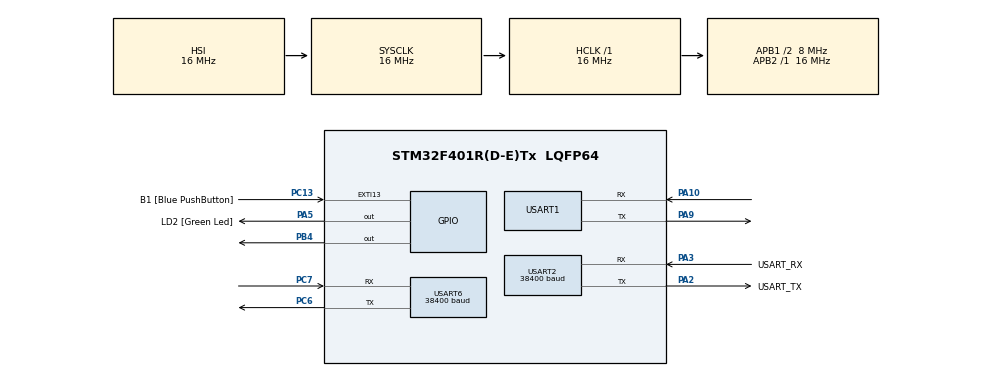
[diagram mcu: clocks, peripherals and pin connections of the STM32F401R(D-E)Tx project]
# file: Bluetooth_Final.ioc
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Mcu.Family=STM32F4
Mcu.Name=STM32F401R(D-E)Tx
Mcu.Package=LQFP64
NVIC.PriorityGroup=NVIC_PRIORITYGROUP_4
NVIC.USART1_IRQn=true\:0\:0\:false\:false\:true\:true\:true\:true
PA10.Mode=Asynchronous
PA10.Signal=USART1_RX
PA13.GPIO_Label=TMS
PA13.Mode=Trace_Asynchronous_SW
PA13.Signal=SYS_JTMS-SWDIO
PA14.GPIO_Label=TCK
PA14.Mode=Trace_Asynchronous_SW
PA14.Signal=SYS_JTCK-SWCLK
PA2.GPIO_Label=USART_TX
PA2.GPIO_Mode=GPIO_MODE_AF_PP
PA2.GPIO_PuPd=GPIO_NOPULL
PA2.GPIO_Speed=GPIO_SPEED_FREQ_LOW
PA2.Mode=Asynchronous
PA2.Signal=USART2_TX
PA3.GPIO_Label=USART_RX
PA3.GPIO_Mode=GPIO_MODE_AF_PP
PA3.GPIO_PuPd=GPIO_NOPULL
PA3.GPIO_Speed=GPIO_SPEED_FREQ_LOW
PA3.Mode=Asynchronous
PA3.Signal=USART2_RX
PA5.GPIO_Label=LD2 [Green Led]
PA5.GPIO_Mode=GPIO_MODE_OUTPUT_PP
PA5.GPIO_PuPd=GPIO_NOPULL
PA5.GPIO_Speed=GPIO_SPEED_FREQ_LOW
PA5.Signal=GPIO_Output
PA9.Mode=Asynchronous
PA9.Signal=USART1_TX
PB3.GPIO_Label=SWO
PB3.Mode=Trace_Asynchronous_SW
PB3.Signal=SYS_JTDO-SWO
PB4.Signal=GPIO_Output
PC13-ANTI_TAMP.GPIO_Label=B1 [Blue PushButton]
PC13-ANTI_TAMP.GPIO_ModeDefaultEXTI=GPIO_MODE_IT_FALLING
PC13-ANTI_TAMP.GPIO_PuPd=GPIO_NOPULL
PC13-ANTI_TAMP.Signal=GPXTI13
PC14-OSC32_IN.Mode=LSE-External-Oscillator
PC14-OSC32_IN.Signal=RCC_OSC32_IN
PC15-OSC32_OUT.Mode=LSE-External-Oscillator
PC15-OSC32_OUT.Signal=RCC_OSC32_OUT
PC6.Mode=Asynchronous
PC6.Signal=USART6_TX
PC7.Mode=Asynchronous
PC7.Signal=USART6_RX
PH0\ -\ OSC_IN.Mode=HSE-External-Clock-Source
PH0\ -\ OSC_IN.Signal=RCC_OSC_IN
PH1\ -\ OSC_OUT.Mode=HSE-External-Clock-Source
PH1\ -\ OSC_OUT.Signal=RCC_OSC_OUT
ProjectManager.HeapSize=0x200
ProjectManager.StackSize=0x400
ProjectManager.TargetToolchain=STM32CubeIDE
RCC.48MHZClocksFreq_Value=96000000
RCC.AHBFreq_Value=16000000
RCC.APB1CLKDivider=RCC_HCLK_DIV2
RCC.APB1Freq_Value=8000000
RCC.APB1TimFreq_Value=16000000
RCC.APB2Freq_Value=16000000
RCC.APB2TimFreq_Value=16000000
RCC.CortexFreq_Value=16000000
RCC.HCLKFreq_Value=16000000
RCC.HSE_VALUE=8000000
RCC.HSI_VALUE=16000000
RCC.PLLM=4
RCC.PLLN=336
RCC.PLLP=RCC_PLLP_DIV4
RCC.PLLQ=7
RCC.PLLSourceVirtual=RCC_PLLSOURCE_HSE
RCC.SYSCLKFreq_VALUE=16000000
RCC.VCOOutputFreq_Value=672000000
USART1.VirtualMode=VM_ASYNC
USART2.BaudRate=38400
USART2.VirtualMode=VM_ASYNC
USART6.BaudRate=38400
USART6.VirtualMode=VM_ASYNC
board=NUCLEO-F401RE

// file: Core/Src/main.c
/* USER CODE BEGIN Header */
	/**
	  ******************************************************************************
	  * @file           : main.c
	  * @brief          : Main program body
	  ******************************************************************************
	  * @attention
	  *
	  * Copyright (c) 2025 STMicroelectronics.
	  * All rights reserved.
	  *
	  * This software is licensed under terms that can be found in the LICENSE file
	  * in the root directory of this software component.
	  * If no LICENSE file comes with this software, it is provided AS-IS.
	  *
	  ******************************************************************************
	  */
	/* USER CODE END Header */
	/* Includes ------------------------------------------------------------------*/

	/* Private includes ----------------------------------------------------------*/

	/* Private typedef -----------------------------------------------------------*/

	/* Private define ------------------------------------------------------------*/

	/* Private macro -------------------------------------------------------------*/

	/* Private variables ---------------------------------------------------------*/
	/* GLOBAL DEFINITIONS - DO NOT REMOVE THIS SECTION */
	// Define all protocol constants at the top level to ensure visibility
	#define STK_GET_SYNC               0x30  // Command: Get Sync
	#define STK_GET_SYNC_EXT           0x20  // Command param: Get Sync (extended)
	#define STK_INSYNC                 0x14  // Response: In Sync
	#define STK_OK                     0x10  // Response: OK

	// Arduino parameters
	#define ARDUINO_RESET_PIN          GPIO_PIN_4
	#define ARDUINO_RESET_PORT         GPIOB
	#define ARDUINO_BOOTLOADER_TIMEOUT 1500  // UNO bootloader active window (~1.5 seconds)
	#define ARDUINO_SYNC_RETRIES       10    // Increased number of sync attempts
	#define ARDUINO_RESET_TIMEOUT      800   // Timeout for Arduino to respond after reset
	#define MAX_RESET_ATTEMPTS         5     // Increased number of reset attempts

	// Reset timing parameters (in ms)
	#define RESET_PULSE_DURATION       2000  // Much longer reset pulse for visible LED blink
	#define POST_RESET_DELAY           250   // Increased wait time after reset
	#define INTER_RESET_DELAY          1000  // Longer delay between reset attempts
	#define SYNC_RETRY_DELAY           100   // Delay between sync command retries

	// Response timeouts
	#define SYNC_RESPONSE_TIMEOUT      500   // Increased timeout for sync response
	#define SECOND_BYTE_TIMEOUT        300   // Dedicated timeout for second byte

	// Buffer and UART settings
	#define UART_TIMEOUT               1000
	#define RX_BUFFER_SIZE             256
	#define DEBUG_BUFFER_SIZE          512

	// Feature flags
	#define DTR_CONTROL_ENABLED        1
	#define VERBOSE_DEBUG_ENABLED      1
	#define DIRECT_SYNC_COMMAND        1
	/* END OF GLOBAL DEFINITIONS */

	/* STK500 Protocol Commands for Hex File Upload */
	#define STK_LOAD_ADDRESS         0x55  // Command: Load Address
	#define STK_PROG_PAGE            0x64  // Command: Program Page
	#define STK_READ_PAGE            0x74  // Command: Read Page
	#define STK_READ_SIGN            0x75  // Command: Read Signature
	#define STK_LEAVE_PROGMODE       0x51  // Command: Leave Programming Mode
	#define STK_ENTER_PROGMODE       0x50  // Command: Enter Programming Mode
	#define STK_UNIVERSAL            0x56  // Command: Universal
	#define STK_CHIP_ERASE           0x52  // Command: Chip erase (ATmega328P)

	/* ATmega328P Memory Specifications */
	#define FLASH_PAGE_SIZE          128   // Flash page size in bytes
	#define EEPROM_PAGE_SIZE         4     // EEPROM page size in bytes
	#define MAX_FLASH_ADDRESS        0x8000 // 32KB flash memory
	#define BOOT_SECTION_START       0x7000 // Do not write to bootloader section

	/* Include the hex file data */

	/* APPLICATION START */

	/* Includes ------------------------------------------------------------------*/
	#include "main.h"
	#include "usart.h"
	#include "gpio.h"
	#include <stdio.h>
	#include <string.h>
	#include <stdbool.h>

	/* Private typedef -----------------------------------------------------------*/
	typedef enum {
	  LOG_STM_TO_ARDUINO,  // Messages from STM to Arduino
	  LOG_ARDUINO_TO_STM   // Messages from Arduino to STM
	} LogType;

	typedef enum {
	  MEMORY_TYPE_FLASH,
	  MEMORY_TYPE_EEPROM,
	  MEMORY_TYPE_FUSE
	} MemoryType;

	typedef struct {
	  uint32_t address;      // Current memory address
	  uint8_t *data;         // Pointer to data buffer
	  uint16_t size;         // Size of data in buffer
	  MemoryType type;       // Type of memory being programmed
	} ProgrammingState;

	/* Private define ------------------------------------------------------------*/
	// UARTs
	#define UART_ARDUINO    huart1  // Connected to Arduino hardware
	#define UART_DEBUG      huart6  // Connected to PL2303 for debug via Putty

	/* Private variables ---------------------------------------------------------*/
	uint8_t rxBuffer[RX_BUFFER_SIZE];
	uint8_t txBuffer[RX_BUFFER_SIZE];
	char debugBuffer[DEBUG_BUFFER_SIZE];
	uint32_t tickStart;
	uint8_t dtrState = 0;
	uint8_t prevDtrState = 0;

	/* Interrupt mode UART variables */
	volatile uint8_t uartRxCircBuffer[RX_BUFFER_SIZE];
	volatile uint16_t rxHead = 0;
	volatile uint16_t rxTail = 0;
	volatile bool uartRxReady = false;
	/* Private function prototypes -----------------------------------------------*/
	void SystemClock_Config(void);
	void ResetArduino(void);
	bool ResetAndSyncArduino(uint8_t attempts);
	void LogMessage(LogType type, uint8_t* buffer, uint16_t size);
	bool IsSync(uint8_t* buffer, uint16_t size);
	bool SendDirectSync(void);
	bool SendSyncWithRetries(uint8_t retries);

	/* Function prototypes for hex upload */
	bool EnterProgrammingMode(void);
	bool LeaveProgrammingMode(void);
	bool SendCommandAndWaitForSync(uint8_t cmd, uint8_t *params, uint8_t paramSize, uint8_t *response, uint8_t responseSize);
	bool LoadAddress(uint16_t address);
	bool ProgramPage(uint8_t *data, uint16_t size, MemoryType type);
	bool EraseChip(void);
	bool VerifySignature(void);
	bool UploadHexFile(void);
	void PrintUploadProgress(uint32_t currentAddress, uint32_t totalSize);
	bool GetSignOn(void);
	uint16_t PrepareHexFilePages(uint8_t preparedPages[][FLASH_PAGE_SIZE],
								uint16_t pageSizes[],
								uint16_t pageAddresses[],
								uint16_t maxPages);

	/* Private user code ---------------------------------------------------------*/

	/**
	  * @brief Reset Arduino UNO into bootloader mode with precise timing for ATmega328P
	  * @retval None
	  */
	void HAL_UART_RxCpltCallback(UART_HandleTypeDef *huart)
	{
	  if (huart->Instance == UART_ARDUINO.Instance) {
	    // Save the received byte in the circular buffer
	    uartRxCircBuffer[rxHead] = rxBuffer[0]; // Get the received byte from the temp buffer
	    rxHead = (rxHead + 1) % RX_BUFFER_SIZE; // Increment head with wrap-around

	    // Set flag indicating data is available
	    uartRxReady = true;

	    // Re-enable the UART receive interrupt for the next byte
	    HAL_UART_Receive_IT(&UART_ARDUINO, rxBuffer, 1);
	  }
	}

	/**
	  * @brief Start UART receive in interrupt mode
	  * @retval None
	  */
	void StartUartInterruptMode(void)
	{
	  // Reset buffer pointers
	  rxHead = 0;
	  rxTail = 0;
	  uartRxReady = false;

	  // Enable UART receive interrupt
	  HAL_UART_Receive_IT(&UART_ARDUINO, rxBuffer, 1);

	  sprintf(debugBuffer, "[%lu] SYSTEM: UART interrupt mode started\r\n", HAL_GetTick());
	  HAL_UART_Transmit(&UART_DEBUG, (uint8_t*)debugBuffer, strlen(debugBuffer), UART_TIMEOUT);
	}

	void ResetArduino(void)
	{
	  // Log the reset action start
	  sprintf(debugBuffer, "[%lu] SYSTEM: Arduino UNO reset sequence initiated\r\n", HAL_GetTick());
	  HAL_UART_Transmit(&UART_DEBUG, (uint8_t*)debugBuffer, strlen(debugBuffer), UART_TIMEOUT);

	  // UNO/ATmega328P specific bootloader entry sequence:

	  // 1. Set RESET low (Arduino enters reset)
	  HAL_GPIO_WritePin(ARDUINO_RESET_PORT, ARDUINO_RESET_PIN, GPIO_PIN_RESET);

	  // 2. Hold reset for much longer to ensure the LED visibly blinks (2 seconds)
	  HAL_Delay(RESET_PULSE_DURATION);

	  // 3. Release RESET - bootloader starts immediately after release
	  HAL_GPIO_WritePin(ARDUINO_RESET_PORT, ARDUINO_RESET_PIN, GPIO_PIN_SET);

	  // 4. Wait longer for the bootloader to initialize properly
	  HAL_Delay(POST_RESET_DELAY);

	  // Log the reset action completion
	  sprintf(debugBuffer, "[%lu] SYSTEM: Arduino UNO reset sequence completed - bootloader window active\r\n", HAL_GetTick());
	  HAL_UART_Transmit(&UART_DEBUG, (uint8_t*)debugBuffer, strlen(debugBuffer), UART_TIMEOUT);
	}

	/**
	  * @brief  Send STK_GET_SIGN_ON command to verify the bootloader is present
	  * @retval true if successful, bootloader responds with "AVR STK"
	  */bool GetSignOn(void)
	  {
		uint8_t response[7]; // Space for "AVR STK"
		bool success = false;

		sprintf(debugBuffer, "[%lu] UPLOAD: Sending GET_SIGN_ON command\r\n", HAL_GetTick());
		HAL_UART_Transmit(&UART_DEBUG, (uint8_t*)debugBuffer, strlen(debugBuffer), UART_TIMEOUT);

		// Send the GET_SIGN_ON command (0x31) with no parameters
		success = SendCommandAndWaitForSync(0x31, NULL, 0, response, 7); // 7 bytes for "AVR STK"

		if (success) {
		  // Validate the received signature
		  char signatureStr[8]; // +1 for null terminator
		  memcpy(signatureStr, response, 7);
		  signatureStr[7] = '\0';

		  sprintf(debugBuffer, "[%lu] UPLOAD: Received signature: %s\r\n", HAL_GetTick(), signatureStr);
		  HAL_UART_Transmit(&UART_DEBUG, (uint8_t*)debugBuffer, strlen(debugBuffer), UART_TIMEOUT);

		  // Check if the signature is "AVR STK"
		  if (strcmp(signatureStr, "AVR STK") == 0) {
			sprintf(debugBuffer, "[%lu] UPLOAD: Valid signature confirmed\r\n", HAL_GetTick());
			HAL_UART_Transmit(&UART_DEBUG, (uint8_t*)debugBuffer, strlen(debugBuffer), UART_TIMEOUT);
		  } else {
			sprintf(debugBuffer, "[%lu] UPLOAD: Invalid signature received\r\n", HAL_GetTick());
			HAL_UART_Transmit(&UART_DEBUG, (uint8_t*)debugBuffer, strlen(debugBuffer), UART_TIMEOUT);
			success = false;
		  }
		} else {
		  sprintf(debugBuffer, "[%lu] UPLOAD: Failed to get signature\r\n", HAL_GetTick());
		  HAL_UART_Transmit(&UART_DEBUG, (uint8_t*)debugBuffer, strlen(debugBuffer), UART_TIMEOUT);
		}

		return success;
	  }
	/**
	  * @brief Log message with timestamp and direction
	  * @param type: Type of message (direction)
	  * @param buffer: Message content
	  * @param size: Message size
	  * @retval None
	  */
	void LogMessage(LogType type, uint8_t* buffer, uint16_t size)
	{
	  uint32_t timestamp = HAL_GetTick();
	  char prefix[32];

	  // Determine message prefix based on type
	  switch(type) {
		case LOG_STM_TO_ARDUINO:
		  strcpy(prefix, "STM->ARDUINO");
		  break;
		case LOG_ARDUINO_TO_STM:
		  strcpy(prefix, "ARDUINO->STM");
		  break;
		default:
		  strcpy(prefix, "UNKNOWN");
	  }

	  // Format the log header with timestamp and direction
	  sprintf(debugBuffer, "[%lu] %s: ", timestamp, prefix);
	  uint16_t headerLen = strlen(debugBuffer);

	  // Send log header
	  HAL_UART_Transmit(&UART_DEBUG, (uint8_t*)debugBuffer, headerLen, UART_TIMEOUT);

	  // For binary data, output hex values
	  for (uint16_t i = 0; i < size; i++) {
		sprintf(debugBuffer, "0x%02X ", buffer[i]);
		HAL_UART_Transmit(&UART_DEBUG, (uint8_t*)debugBuffer, strlen(debugBuffer), UART_TIMEOUT);
	  }

	  // Add newline
	  HAL_UART_Transmit(&UART_DEBUG, (uint8_t*)"\r\n", 2, UART_TIMEOUT);
	}

	/**
	  * @brief Check if buffer contains an avrdude sync request
	  * @param buffer: Buffer to check
	  * @param size: Buffer size
	  * @retval true if sync request is detected
	  */
	bool IsSync(uint8_t* buffer, uint16_t size)
	{
	  // Check for the standard STK500 sync pattern (0x30, 0x20)
	  if (size >= 2 && buffer[0] == STK_GET_SYNC && buffer[1] == STK_GET_SYNC_EXT)
		return true;

	  // Check for alternate sync patterns
	  if (size >= 2 && buffer[0] == STK_GET_SYNC && buffer[1] == 0x00)
		return true;

	  // For UNO, sometimes just the first byte is enough to check
	  if (size >= 1 && buffer[0] == STK_GET_SYNC)
		return true;

	  return false;
	}

	/**
	  * @brief Send a sync command directly to Arduino bootloader
	  * @retval true if sync response received
	  */
	bool SendDirectSync(void)
	{
	  uint8_t syncCmd[2] = {STK_GET_SYNC, STK_GET_SYNC_EXT};
	  uint8_t response[2] = {0, 0};
	  bool success = false;

	  // Log action
	  sprintf(debugBuffer, "[%lu] SYSTEM: Sending direct sync command to bootloader\r\n", HAL_GetTick());
	  HAL_UART_Transmit(&UART_DEBUG, (uint8_t*)debugBuffer, strlen(debugBuffer), UART_TIMEOUT);

	  // Flush any existing data in the UART buffers
	  HAL_UART_AbortReceive(&UART_ARDUINO);

	  // Wait for UART to stabilize
	  HAL_Delay(10);

	  // Send sync command
	  HAL_UART_Transmit(&UART_ARDUINO, syncCmd, 2, UART_TIMEOUT);

	  // Try to receive first byte with longer timeout
	  if (HAL_UART_Receive(&UART_ARDUINO, &response[0], 1, SYNC_RESPONSE_TIMEOUT) == HAL_OK) {
		// We got the first byte, check if it's STK_INSYNC
		if (response[0] == STK_INSYNC) {
		  sprintf(debugBuffer, "[%lu] SYSTEM: Received STK_INSYNC (0x%02X)\r\n", HAL_GetTick(), response[0]);
		  HAL_UART_Transmit(&UART_DEBUG, (uint8_t*)debugBuffer, strlen(debugBuffer), UART_TIMEOUT);

		  // Try to get the second byte (STK_OK) with dedicated timeout
		  if (HAL_UART_Receive(&UART_ARDUINO, &response[1], 1, SECOND_BYTE_TIMEOUT) == HAL_OK) {
			sprintf(debugBuffer, "[%lu] SYSTEM: Received second byte: 0x%02X\r\n", HAL_GetTick(), response[1]);
			HAL_UART_Transmit(&UART_DEBUG, (uint8_t*)debugBuffer, strlen(debugBuffer), UART_TIMEOUT);

			if (response[1] == STK_OK) {
			  sprintf(debugBuffer, "[%lu] SYSTEM: Second byte is STK_OK - Bootloader sync confirmed!\r\n", HAL_GetTick());
			  HAL_UART_Transmit(&UART_DEBUG, (uint8_t*)debugBuffer, strlen(debugBuffer), UART_TIMEOUT);
			  success = true;
			} else {
			  sprintf(debugBuffer, "[%lu] SYSTEM: Second byte is not STK_OK\r\n", HAL_GetTick());
			  HAL_UART_Transmit(&UART_DEBUG, (uint8_t*)debugBuffer, strlen(debugBuffer), UART_TIMEOUT);
			}
		  } else {
			sprintf(debugBuffer, "[%lu] SYSTEM: No second byte received after STK_INSYNC\r\n", HAL_GetTick());
			HAL_UART_Transmit(&UART_DEBUG, (uint8_t*)debugBuffer, strlen(debugBuffer), UART_TIMEOUT);
		  }
		} else {
		  sprintf(debugBuffer, "[%lu] SYSTEM: Received 0x%02X instead of STK_INSYNC\r\n", HAL_GetTick(), response[0]);
		  HAL_UART_Transmit(&UART_DEBUG, (uint8_t*)debugBuffer, strlen(debugBuffer), UART_TIMEOUT);
		}
	  } else {
		sprintf(debugBuffer, "[%lu] SYSTEM: No response from bootloader\r\n", HAL_GetTick());
		HAL_UART_Transmit(&UART_DEBUG, (uint8_t*)debugBuffer, strlen(debugBuffer), UART_TIMEOUT);
	  }

	  return success;
	}

	/* USER CODE BEGIN PV */

	/**
	  * @brief Send sync commands with multiple retries
	  * @param retries: Number of sync command retries
	  * @retval true if sync was achieved
	  */
	bool SendSyncWithRetries(uint8_t retries)
	{
	  bool syncSuccess = false;

	  for (uint8_t i = 0; i < retries; i++) {
		sprintf(debugBuffer, "[%lu] SYSTEM: Sync attempt %d of %d\r\n", HAL_GetTick(), i+1, retries);
		HAL_UART_Transmit(&UART_DEBUG, (uint8_t*)debugBuffer, strlen(debugBuffer), UART_TIMEOUT);

		if (SendDirectSync()) {
		  syncSuccess = true;
		  break;
		}

		// Wait before trying again
		if (i < retries - 1) {
		  HAL_Delay(SYNC_RETRY_DELAY);
		}
	  }

	  return syncSuccess;
	}

	/**
	  * @brief Perform multiple reset attempts to ensure bootloader entry
	  * @param attempts: Number of reset attempts
	  * @retval true if sync was achieved
	  */
	bool ResetAndSyncArduino(uint8_t attempts)
	{
	  bool syncAchieved = false;

	  for (uint8_t i = 0; i < attempts; i++) {
		// Log attempt number if multiple attempts
		if (attempts > 1) {
		  sprintf(debugBuffer, "[%lu] SYSTEM: Reset attempt %d of %d\r\n", HAL_GetTick(), i+1, attempts);
		  HAL_UART_Transmit(&UART_DEBUG, (uint8_t*)debugBuffer, strlen(debugBuffer), UART_TIMEOUT);
		}

		// Reset Arduino
		ResetArduino();

		// Try multiple sync commands after each reset
		if (SendSyncWithRetries(ARDUINO_SYNC_RETRIES)) {
		  sprintf(debugBuffer, "[%lu] SYSTEM: Bootloader sync achieved on reset attempt %d!\r\n", HAL_GetTick(), i+1);
		  HAL_UART_Transmit(&UART_DEBUG, (uint8_t*)debugBuffer, strlen(debugBuffer), UART_TIMEOUT);
		  syncAchieved = true;
		  break;
		}

		// If this wasn't the last attempt, wait before trying again
		if (i < attempts - 1) {
		  sprintf(debugBuffer, "[%lu] SYSTEM: Sync failed, waiting before next reset attempt...\r\n", HAL_GetTick());
		  HAL_UART_Transmit(&UART_DEBUG, (uint8_t*)debugBuffer, strlen(debugBuffer), UART_TIMEOUT);
		  HAL_Delay(INTER_RESET_DELAY);
		}
	  }

	  if (!syncAchieved && attempts > 1) {
		sprintf(debugBuffer, "[%lu] SYSTEM: Failed to sync after %d reset attempts\r\n", HAL_GetTick(), attempts);
		HAL_UART_Transmit(&UART_DEBUG, (uint8_t*)debugBuffer, strlen(debugBuffer), UART_TIMEOUT);
	  }

	  return syncAchieved;
	}
	/**
	  * @brief  Send STK500 command and wait for the INSYNC/OK response
	  * @param  cmd: STK500 command byte
	  * @param  params: Parameter buffer
	  * @param  paramSize: Parameter buffer size
	  * @param  response: Buffer to store any additional response data
	  * @param  responseSize: Expected response data size (excluding INSYNC/OK bytes)
	  * @retval true if command succeeded
	  */
	bool SendCommandAndWaitForSync(uint8_t cmd, uint8_t *params, uint8_t paramSize, uint8_t *response, uint8_t responseSize)
	  {
		uint8_t cmdBuffer[RX_BUFFER_SIZE];
	//    uint8_t respBuffer[2 + RX_BUFFER_SIZE]; // INSYNC + OK + any response data
		bool success = false;

		// Prepare command buffer
		cmdBuffer[0] = cmd;

		// Copy parameters if any
		if (params != NULL && paramSize > 0) {
		  memcpy(&cmdBuffer[1], params, paramSize);
		}

		// Add Sync_CRC_EOP byte at the end
		cmdBuffer[1 + paramSize] = 0x20;  // Sync_CRC_EOP

		// Total command size is: 1 byte command + paramSize + 1 byte Sync_CRC_EOP
		uint8_t totalSize = 1 + paramSize + 1;

		// Log command with simple format to minimize processing time
		sprintf(debugBuffer, "[%lu] UPLOAD: Command 0x%02X, %d params\r\n", HAL_GetTick(), cmd, paramSize);
		HAL_UART_Transmit(&UART_DEBUG, (uint8_t*)debugBuffer, strlen(debugBuffer), UART_TIMEOUT);

		// Flush any existing data in the UART buffers
		HAL_UART_AbortReceive(&UART_ARDUINO);

		// Wait for UART to stabilize - keep this delay
		HAL_Delay(10);

		// Send command + parameters + Sync_CRC_EOP
		HAL_UART_Transmit(&UART_ARDUINO, cmdBuffer, totalSize, UART_TIMEOUT);

		// Calculate total expected response size: INSYNC + responseSize + STK_OK
		uint8_t totalResponseSize = 1 + responseSize + 1;

		// Create a single buffer for the entire response
		uint8_t fullResponse[2 + RX_BUFFER_SIZE] = {0}; // Size should be enough for all responses

		// Extended timeout for receiving complete response
		uint32_t extendedTimeout = SYNC_RESPONSE_TIMEOUT + (responseSize * 100);

		// Receive the entire response with a single call
		HAL_StatusTypeDef receiveStatus = HAL_UART_Receive(&UART_ARDUINO, fullResponse, totalResponseSize, extendedTimeout);

		// Log the received bytes without processing between receives
		if (receiveStatus == HAL_OK) {
		  sprintf(debugBuffer, "[%lu] UPLOAD: Received %d bytes in response:\r\n", HAL_GetTick(), totalResponseSize);
		  HAL_UART_Transmit(&UART_DEBUG, (uint8_t*)debugBuffer, strlen(debugBuffer), UART_TIMEOUT);

		  for (int i = 0; i < totalResponseSize; i++) {
			sprintf(debugBuffer, "  Byte %d: 0x%02X\r\n", i, fullResponse[i]);
			HAL_UART_Transmit(&UART_DEBUG, (uint8_t*)debugBuffer, strlen(debugBuffer), UART_TIMEOUT);
		  }

		  // Check if response pattern is correct
		  if (fullResponse[0] == STK_INSYNC && fullResponse[totalResponseSize-1] == STK_OK) {
			// Copy response data if needed
			if (response != NULL && responseSize > 0) {
			  memcpy(response, &fullResponse[1], responseSize);
			}

			sprintf(debugBuffer, "[%lu] UPLOAD: Command 0x%02X completed successfully!\r\n", HAL_GetTick(), cmd);
			HAL_UART_Transmit(&UART_DEBUG, (uint8_t*)debugBuffer, strlen(debugBuffer), UART_TIMEOUT);
			success = true;
		  } else {
			sprintf(debugBuffer, "[%lu] UPLOAD: Response pattern incorrect\r\n", HAL_GetTick());
			HAL_UART_Transmit(&UART_DEBUG, (uint8_t*)debugBuffer, strlen(debugBuffer), UART_TIMEOUT);
		  }
		} else {
		  sprintf(debugBuffer, "[%lu] UPLOAD: Failed to receive complete response (status: %d)\r\n",
				  HAL_GetTick(), receiveStatus);
		  HAL_UART_Transmit(&UART_DEBUG, (uint8_t*)debugBuffer, strlen(debugBuffer), UART_TIMEOUT);

		  // Try to read whatever bytes we can get
		  uint8_t availableBytes = 0;
		  while (HAL_UART_Receive(&UART_ARDUINO, &fullResponse[availableBytes], 1, 10) == HAL_OK && availableBytes < sizeof(fullResponse)) {
			availableBytes++;
		  }

		  if (availableBytes > 0) {
			sprintf(debugBuffer, "[%lu] UPLOAD: Retrieved %d partial bytes:\r\n", HAL_GetTick(), availableBytes);
			HAL_UART_Transmit(&UART_DEBUG, (uint8_t*)debugBuffer, strlen(debugBuffer), UART_TIMEOUT);

			for (int i = 0; i < availableBytes; i++) {
			  sprintf(debugBuffer, "  Byte %d: 0x%02X\r\n", i, fullResponse[i]);
			  HAL_UART_Transmit(&UART_DEBUG, (uint8_t*)debugBuffer, strlen(debugBuffer), UART_TIMEOUT);
			}
		  }
		}

		return success;
	  }

	/**
	  * @brief  Enter programming mode
	  * @retval true if successful
	  */
	/**
	  * @brief  Enter programming mode
	  * @retval true if successful
	  */
	bool EnterProgrammingMode(void)
	{
	  sprintf(debugBuffer, "[%lu] UPLOAD: Entering programming mode\r\n", HAL_GetTick());
	  HAL_UART_Transmit(&UART_DEBUG, (uint8_t*)debugBuffer, strlen(debugBuffer), UART_TIMEOUT);

	  // Use SendCommandAndWaitForSync with no parameters and no expected response data
	  if (!SendCommandAndWaitForSync(STK_ENTER_PROGMODE, NULL, 0, NULL, 0)) {
		sprintf(debugBuffer, "[%lu] UPLOAD: Failed to enter programming mode\r\n", HAL_GetTick());
		HAL_UART_Transmit(&UART_DEBUG, (uint8_t*)debugBuffer, strlen(debugBuffer), UART_TIMEOUT);
		return false;
	  }

	  sprintf(debugBuffer, "[%lu] UPLOAD: Successfully entered programming mode\r\n", HAL_GetTick());
	  HAL_UART_Transmit(&UART_DEBUG, (uint8_t*)debugBuffer, strlen(debugBuffer), UART_TIMEOUT);
	  return true;
	}

	/**
	  * @brief  Leave programming mode
	  * @retval true if successful
	  */
	bool LeaveProgrammingMode(void)
	{
	  sprintf(debugBuffer, "[%lu] UPLOAD: Leaving programming mode\r\n", HAL_GetTick());
	  HAL_UART_Transmit(&UART_DEBUG, (uint8_t*)debugBuffer, strlen(debugBuffer), UART_TIMEOUT);

	  return SendCommandAndWaitForSync(STK_LEAVE_PROGMODE, NULL, 0, NULL, 0);
	}

	/**
	  * @brief  Load address for subsequent operations
	  * @param  address: Word address (address/2 for flash)
	  * @retval true if successful
	  */
	bool LoadAddress(uint16_t address)
	{
	  uint8_t params[2];

	  // Convert byte address to word address for flash memory
	  uint16_t wordAddress = address >> 1;

	  // STK500 protocol expects low byte first
	  params[0] = wordAddress & 0xFF;        // Low byte
	  params[1] = (wordAddress >> 8) & 0xFF; // High byte

	  sprintf(debugBuffer, "[%lu] UPLOAD: Loading address 0x%04X (word: 0x%04X)\r\n",
			  HAL_GetTick(), address, wordAddress);
	  HAL_UART_Transmit(&UART_DEBUG, (uint8_t*)debugBuffer, strlen(debugBuffer), UART_TIMEOUT);

	  return SendCommandAndWaitForSync(STK_LOAD_ADDRESS, params, 2, NULL, 0);
	}

	/**
	  * @brief  Program a page of data
	  * @param  data: Data buffer to program
	  * @param  size: Size of data to program
	  * @param  type: Type of memory (FLASH or EEPROM)
	  * @retval true if successful
	  */
	bool ProgramPage(uint8_t *data, uint16_t size, MemoryType type)
	{
	  uint8_t params[size + 3]; // size_low, size_high, memtype, data[size]

	  // Check size limits based on memory type
	  uint16_t maxSize = (type == MEMORY_TYPE_FLASH) ? FLASH_PAGE_SIZE : EEPROM_PAGE_SIZE;
	  if (size > maxSize) {
		sprintf(debugBuffer, "[%lu] UPLOAD: Page size %d exceeds max %d for memory type %d\r\n",
				HAL_GetTick(), size, maxSize, type);
		HAL_UART_Transmit(&UART_DEBUG, (uint8_t*)debugBuffer, strlen(debugBuffer), UART_TIMEOUT);
		return false;
	  }

	  // Prepare parameters
	  params[0] = size & 0xFF;         // Size low byte
	  params[1] = (size >> 8) & 0xFF;  // Size high byte
	  params[2] = (type == MEMORY_TYPE_FLASH) ? 'F' : 'E'; // 'F' for flash, 'E' for EEPROM

	  // Copy data
	  memcpy(&params[3], data, size);

	  sprintf(debugBuffer, "[%lu] UPLOAD: Programming %d bytes to %c memory\r\n",
			  HAL_GetTick(), size, params[2]);
	  HAL_UART_Transmit(&UART_DEBUG, (uint8_t*)debugBuffer, strlen(debugBuffer), UART_TIMEOUT);

	  return SendCommandAndWaitForSync(STK_PROG_PAGE, params, size + 3, NULL, 0);
	}

	bool ProgramPageSpecial(uint8_t *data, uint16_t size, char memoryType)
	{
	  uint8_t cmdBuffer[4 + FLASH_PAGE_SIZE + 1]; // Command + size high/low + memory type + data + CRC_EOP
	  uint8_t response[2] = {0}; // For INSYNC and OK responses
	  bool success = false;

	  // Prepare command buffer
	  cmdBuffer[0] = STK_PROG_PAGE;     // Command
	  cmdBuffer[1] = (size >> 8) & 0xFF; // Size high byte
	  cmdBuffer[2] = size & 0xFF;        // Size low byte
	  cmdBuffer[3] = memoryType;         // 'F' for flash, 'E' for EEPROM

	  // Copy data
	  memcpy(&cmdBuffer[4], data, size);

	  // Add Sync_CRC_EOP at the end
	  cmdBuffer[4 + size] = 0x20; // Sync_CRC_EOP

	  // Total length of command
	  uint16_t totalSize = 4 + size + 1;

	  sprintf(debugBuffer, "[%lu] UPLOAD: Programming %d bytes to %c memory (special method)\r\n",
			  HAL_GetTick(), size, memoryType);
	  HAL_UART_Transmit(&UART_DEBUG, (uint8_t*)debugBuffer, strlen(debugBuffer), UART_TIMEOUT);

	  // Flush any existing data in the UART buffers
	  HAL_UART_AbortReceive(&UART_ARDUINO);

	  // Wait for UART to stabilize
	  HAL_Delay(20);

	  // 1. Send command byte
	  HAL_UART_Transmit(&UART_ARDUINO, &cmdBuffer[0], 1, UART_TIMEOUT);
	  HAL_Delay(5);

	  // 2. Send size bytes and memory type
	  HAL_UART_Transmit(&UART_ARDUINO, &cmdBuffer[1], 3, UART_TIMEOUT);
	  HAL_Delay(5);

	  // 3. Send data in smaller chunks with delays
	  for (uint16_t offset = 0; offset < size; offset += 16) {
		uint16_t chunkSize = ((offset + 16) > size) ? (size - offset) : 16;
		HAL_UART_Transmit(&UART_ARDUINO, &data[offset], chunkSize, UART_TIMEOUT);
		HAL_Delay(1); // Brief delay between chunks
	  }

	  // 4. Send final Sync_CRC_EOP
	  HAL_UART_Transmit(&UART_ARDUINO, &cmdBuffer[4 + size], 1, UART_TIMEOUT);

	  // 5. Wait for INSYNC response with extended timeout
	  uint32_t programmingTimeout = 1000; // 1 second timeout for flash programming

	  if (HAL_UART_Receive(&UART_ARDUINO, &response[0], 1, programmingTimeout) == HAL_OK) {
		if (response[0] == STK_INSYNC) {
		  sprintf(debugBuffer, "[%lu] UPLOAD: Received STK_INSYNC after programming\r\n", HAL_GetTick());
		  HAL_UART_Transmit(&UART_DEBUG, (uint8_t*)debugBuffer, strlen(debugBuffer), UART_TIMEOUT);

		  // 6. Wait for OK response
		  if (HAL_UART_Receive(&UART_ARDUINO, &response[1], 1, 500) == HAL_OK) {
			if (response[1] == STK_OK) {
			  sprintf(debugBuffer, "[%lu] UPLOAD: Programming successful\r\n", HAL_GetTick());
			  HAL_UART_Transmit(&UART_DEBUG, (uint8_t*)debugBuffer, strlen(debugBuffer), UART_TIMEOUT);
			  success = true;
			} else {
			  sprintf(debugBuffer, "[%lu] UPLOAD: Received non-OK response: 0x%02X\r\n",
					 HAL_GetTick(), response[1]);
			  HAL_UART_Transmit(&UART_DEBUG, (uint8_t*)debugBuffer, strlen(debugBuffer), UART_TIMEOUT);
			}
		  } else {
			sprintf(debugBuffer, "[%lu] UPLOAD: No OK response received\r\n", HAL_GetTick());
			HAL_UART_Transmit(&UART_DEBUG, (uint8_t*)debugBuffer, strlen(debugBuffer), UART_TIMEOUT);
		  }
		} else {
		  sprintf(debugBuffer, "[%lu] UPLOAD: Received 0x%02X instead of STK_INSYNC\r\n",
				 HAL_GetTick(), response[0]);
		  HAL_UART_Transmit(&UART_DEBUG, (uint8_t*)debugBuffer, strlen(debugBuffer), UART_TIMEOUT);
		}
	  } else {
		sprintf(debugBuffer, "[%lu] UPLOAD: No response after programming\r\n", HAL_GetTick());
		HAL_UART_Transmit(&UART_DEBUG, (uint8_t*)debugBuffer, strlen(debugBuffer), UART_TIMEOUT);
	  }

	  return success;
	}
	/**
	  * @brief  Erase chip
	  * @retval true if successful
	  */
	bool EraseChip(void)
	{
	  sprintf(debugBuffer, "[%lu] UPLOAD: Erasing chip\r\n", HAL_GetTick());
	  HAL_UART_Transmit(&UART_DEBUG, (uint8_t*)debugBuffer, strlen(debugBuffer), UART_TIMEOUT);

	  return SendCommandAndWaitForSync(STK_CHIP_ERASE, NULL, 0, NULL, 0);
	}

	/**
	  * @brief  Verify device signature
	  * @retval true if device is ATmega328P
	  */
	bool VerifySignature(void)
	{
	  uint8_t response[3];

	  sprintf(debugBuffer, "[%lu] UPLOAD: Reading device signature\r\n", HAL_GetTick());
	  HAL_UART_Transmit(&UART_DEBUG, (uint8_t*)debugBuffer, strlen(debugBuffer), UART_TIMEOUT);

	  if (!SendCommandAndWaitForSync(STK_READ_SIGN, NULL, 0, response, 3)) {
		return false;
	  }

	  // ATmega328P signature is 0x1E 0x95 0x0F
	  if (response[0] == 0x1E && response[1] == 0x95 && response[2] == 0x0F) {
		sprintf(debugBuffer, "[%lu] UPLOAD: Signature verified: ATmega328P\r\n", HAL_GetTick());
		HAL_UART_Transmit(&UART_DEBUG, (uint8_t*)debugBuffer, strlen(debugBuffer), UART_TIMEOUT);
		return true;
	  } else {
		sprintf(debugBuffer, "[%lu] UPLOAD: Unexpected signature: 0x%02X 0x%02X 0x%02X\r\n",
				HAL_GetTick(), response[0], response[1], response[2]);
		HAL_UART_Transmit(&UART_DEBUG, (uint8_t*)debugBuffer, strlen(debugBuffer), UART_TIMEOUT);
		return false;
	  }
	}

	/**
	  * @brief  Print upload progress to debug UART
	  * @param  currentAddress: Current address being programmed
	  * @param  totalSize: Total size to program
	  * @retval None
	  */
	void PrintUploadProgress(uint32_t currentAddress, uint32_t totalSize)
	{
	  uint8_t percent = (currentAddress * 100) / totalSize;
	  static uint8_t lastPercent = 0xFF;

	  // Only print when percentage changes significantly to avoid flooding debug port
	  if (percent != lastPercent && (percent % 10 == 0 || percent == 5 || percent == 95)) {
		sprintf(debugBuffer, "[%lu] UPLOAD: Progress %d%% - Address 0x%04lX of 0x%04lX\r\n",
				HAL_GetTick(), percent, currentAddress, totalSize);
		HAL_UART_Transmit(&UART_DEBUG, (uint8_t*)debugBuffer, strlen(debugBuffer), UART_TIMEOUT);
		lastPercent = percent;
	  }
	}

	/**
	  * @brief  Upload the hex file to Arduino
	  * @retval true if upload successful
	  */
	bool UploadHexFile(void)
	{
	  bool success = false;

	  // Define arrays for pre-processed pages (adjust MAX_PAGES as needed)
	  #define MAX_PAGES 64
	  uint8_t preparedPages[MAX_PAGES][FLASH_PAGE_SIZE];
	  uint16_t pageSizes[MAX_PAGES];
	  uint16_t pageAddresses[MAX_PAGES];

	  // Pre-process hex file first
	  uint16_t totalPages = PrepareHexFilePages(preparedPages, pageSizes, pageAddresses, MAX_PAGES);

	  if (totalPages == 0) {
		sprintf(debugBuffer, "[%lu] UPLOAD: No valid pages to upload\r\n", HAL_GetTick());
		HAL_UART_Transmit(&UART_DEBUG, (uint8_t*)debugBuffer, strlen(debugBuffer), UART_TIMEOUT);
		return false;
	  }

	  // Now perform the actual upload
	  sprintf(debugBuffer, "[%lu] UPLOAD: Starting upload of %d pages\r\n", HAL_GetTick(), totalPages);
	  HAL_UART_Transmit(&UART_DEBUG, (uint8_t*)debugBuffer, strlen(debugBuffer), UART_TIMEOUT);

	  // Reset Arduino and establish sync
	  if (!ResetAndSyncArduino(MAX_RESET_ATTEMPTS)) {
		sprintf(debugBuffer, "[%lu] UPLOAD: Failed to sync with Arduino\r\n", HAL_GetTick());
		HAL_UART_Transmit(&UART_DEBUG, (uint8_t*)debugBuffer, strlen(debugBuffer), UART_TIMEOUT);
		return false;
	  }

	  // Verify device signature
	  if (!VerifySignature()) {
		return false;
	  }

	  // Enter programming mode
	  if (!EnterProgrammingMode()) {
		sprintf(debugBuffer, "[%lu] UPLOAD: Failed to enter programming mode\r\n", HAL_GetTick());
		HAL_UART_Transmit(&UART_DEBUG, (uint8_t*)debugBuffer, strlen(debugBuffer), UART_TIMEOUT);
		return false;
	  }

	  // Erase the chip
	  if (!EraseChip()) {
		sprintf(debugBuffer, "[%lu] UPLOAD: Failed to erase chip\r\n", HAL_GetTick());
		HAL_UART_Transmit(&UART_DEBUG, (uint8_t*)debugBuffer, strlen(debugBuffer), UART_TIMEOUT);
		LeaveProgrammingMode(); // Try to exit gracefully
		return false;
	  }

	  // Upload all prepared pages
	  uint16_t i;
	  for (i = 0; i < totalPages; i++) {
		// Load address for this page
		if (!LoadAddress(pageAddresses[i])) {
		  sprintf(debugBuffer, "[%lu] UPLOAD: Failed to load address 0x%04X\r\n",
				  HAL_GetTick(), pageAddresses[i]);
		  HAL_UART_Transmit(&UART_DEBUG, (uint8_t*)debugBuffer, strlen(debugBuffer), UART_TIMEOUT);
		  break;
		}

		// Program the page using the special method for better timing
		if (!ProgramPageSpecial(preparedPages[i], pageSizes[i], 'F')) {
		  sprintf(debugBuffer, "[%lu] UPLOAD: Failed to program page at 0x%04X\r\n",
				  HAL_GetTick(), pageAddresses[i]);
		  HAL_UART_Transmit(&UART_DEBUG, (uint8_t*)debugBuffer, strlen(debugBuffer), UART_TIMEOUT);
		  break;
		}

		// Print progress
		uint8_t percent = ((i + 1) * 100) / totalPages;
		sprintf(debugBuffer, "[%lu] UPLOAD: Progress %d%% - Programmed page %d/%d at 0x%04X\r\n",
				HAL_GetTick(), percent, i+1, totalPages, pageAddresses[i]);
		HAL_UART_Transmit(&UART_DEBUG, (uint8_t*)debugBuffer, strlen(debugBuffer), UART_TIMEOUT);
	  }

	  // Check if upload was complete
	  if (i == totalPages) {
		sprintf(debugBuffer, "[%lu] UPLOAD: Hex file upload complete\r\n", HAL_GetTick());
		HAL_UART_Transmit(&UART_DEBUG, (uint8_t*)debugBuffer, strlen(debugBuffer), UART_TIMEOUT);
		success = true;
	  } else {
		sprintf(debugBuffer, "[%lu] UPLOAD: Upload failed at page %d/%d\r\n",
				HAL_GetTick(), i+1, totalPages);
		HAL_UART_Transmit(&UART_DEBUG, (uint8_t*)debugBuffer, strlen(debugBuffer), UART_TIMEOUT);
	  }

	  // Leave programming mode
	  if (!LeaveProgrammingMode()) {
		sprintf(debugBuffer, "[%lu] UPLOAD: Failed to leave programming mode\r\n", HAL_GetTick());
		HAL_UART_Transmit(&UART_DEBUG, (uint8_t*)debugBuffer, strlen(debugBuffer), UART_TIMEOUT);
		success = false;
	  }

	  // Final reset to run the newly uploaded program
	  if (success) {
		sprintf(debugBuffer, "[%lu] UPLOAD: Resetting Arduino to run new program\r\n", HAL_GetTick());
		HAL_UART_Transmit(&UART_DEBUG, (uint8_t*)debugBuffer, strlen(debugBuffer), UART_TIMEOUT);
		ResetArduino();
	  }

	  return success;
	}

	/**
	  * @brief Pre-processes the hex file into pages for faster upload
	  * @param preparedPages: Array to store prepared page data
	  * @param pageSizes: Array to store size of each page
	  * @param pageAddresses: Array to store starting address of each page
	  * @param maxPages: Maximum number of pages to prepare
	  * @retval Number of pages prepared
	  */
	/**
	  * @brief Pre-processes the hex file into pages for faster upload, ensuring correct byte ordering
	  * @param preparedPages: Array to store prepared page data
	  * @param pageSizes: Array to store size of each page
	  * @param pageAddresses: Array to store starting address of each page
	  * @param maxPages: Maximum number of pages to prepare
	  * @retval Number of pages prepared
	  */
	/**
	  * @brief Pre-processes the hex file into pages for faster upload
	  * @param preparedPages: Array to store prepared page data
	  * @param pageSizes: Array to store size of each page
	  * @param pageAddresses: Array to store starting address of each page
	  * @param maxPages: Maximum number of pages to prepare
	  * @retval Number of pages prepared
	  */
	//uint16_t PrepareHexFilePages(uint8_t preparedPages[][FLASH_PAGE_SIZE],
	//                            uint16_t pageSizes[],
	//                            uint16_t pageAddresses[],
	//                            uint16_t maxPages)
	//{
	//  uint16_t totalPages = 0;
	//  uint16_t currentAddress = 0;
	//  uint16_t bytesRemaining = sizeof(program_data);
	//
	//  sprintf(debugBuffer, "[%lu] UPLOAD: Pre-processing binary program data (size: %u bytes)...\r\n",
	//          HAL_GetTick(), bytesRemaining);
	//  HAL_UART_Transmit(&UART_DEBUG, (uint8_t*)debugBuffer, strlen(debugBuffer), UART_TIMEOUT);
	//
	//  // Process all data in chunks of FLASH_PAGE_SIZE
	//  while (bytesRemaining > 0 && totalPages < maxPages) {
	//    // Skip bootloader area
	//    if (currentAddress >= BOOT_SECTION_START) {
	//      sprintf(debugBuffer, "[%lu] UPLOAD: Skipping bootloader area at 0x%04X\r\n",
	//              HAL_GetTick(), currentAddress);
	//      HAL_UART_Transmit(&UART_DEBUG, (uint8_t*)debugBuffer, strlen(debugBuffer), UART_TIMEOUT);
	//      break; // Stop processing as we've reached the bootloader area
	//    }
	//
	//    // Calculate bytes to copy for this page
	//    uint16_t bytesToCopy = (bytesRemaining > FLASH_PAGE_SIZE) ? FLASH_PAGE_SIZE : bytesRemaining;
	//
	//    // Copy data for this page
	//    memcpy(preparedPages[totalPages], &program_data[currentAddress], bytesToCopy);
	//
	//    // If we didn't fill the page, pad with 0xFF (erased flash state)
	//    if (bytesToCopy < FLASH_PAGE_SIZE) {
	//      memset(&preparedPages[totalPages][bytesToCopy], 0xFF, FLASH_PAGE_SIZE - bytesToCopy);
	//    }
	//
	//    // Store page information
	//    pageAddresses[totalPages] = currentAddress;
	//    pageSizes[totalPages] = FLASH_PAGE_SIZE; // Always send full pages for consistent programming
	//
	//    // Debug output
	//    sprintf(debugBuffer, "[%lu] UPLOAD: Prepared page %d: address=0x%04X, size=%d bytes\r\n",
	//            HAL_GetTick(), totalPages, currentAddress, FLASH_PAGE_SIZE);
	//    HAL_UART_Transmit(&UART_DEBUG, (uint8_t*)debugBuffer, strlen(debugBuffer), UART_TIMEOUT);
	//
	//    // Update counters
	//    currentAddress += bytesToCopy;
	//    bytesRemaining -= bytesToCopy;
	//    totalPages++;
	//
	//    // Progress indicator every few pages
	//    if (totalPages % 10 == 0) {
	//      sprintf(debugBuffer, "[%lu] UPLOAD: Processed %d pages...\r\n", HAL_GetTick(), totalPages);
	//      HAL_UART_Transmit(&UART_DEBUG, (uint8_t*)debugBuffer, strlen(debugBuffer), UART_TIMEOUT);
	//    }
	//  }
	//
	//  sprintf(debugBuffer, "[%lu] UPLOAD: Pre-processing complete: %d pages prepared\r\n",
	//          HAL_GetTick(), totalPages);
	//  HAL_UART_Transmit(&UART_DEBUG, (uint8_t*)debugBuffer, strlen(debugBuffer), UART_TIMEOUT);
	//
	//  return totalPages;
	//}
	/* USER CODE END PV */

	/* Private function prototypes -----------------------------------------------*/
	void SystemClock_Config(void);

	/* Private user code ---------------------------------------------------------*/

	/**
	  * @brief  The application entry point.
	  * @retval int
	  *//* Add these external variables at the file scope before main() */
	uint8_t* program_data_ptr = NULL;    // Will point to our dynamic program data
	uint32_t program_data_size = 0;      // Size of the received program data

	/**
	  * @brief  The application entry point with wireless programming support
	  * @retval int
	  *//* Add these external variables at the file scope before main() */

	/**
	  * @brief  The application entry point with wireless programming support
	  * @retval int
	  */
int main(void)
	{
	  /* MCU Configuration--------------------------------------------------------*/
	  HAL_Init();
	  SystemClock_Config();

	  /* Initialize all configured peripherals */
	  MX_GPIO_Init();
	  MX_USART1_UART_Init();  // Arduino UART
	  MX_USART2_UART_Init();  // Bluetooth TX (to laptop)
	  MX_USART6_UART_Init();  // Bluetooth RX (from laptop)

	  // Buffer for receiving commands and data from Bluetooth
	  uint8_t btRxBuffer[RX_BUFFER_SIZE];
	  uint8_t btTxBuffer[RX_BUFFER_SIZE];
	  static uint8_t dynamic_program_data[MAX_FLASH_ADDRESS]; // Buffer to store incoming hex file

	  // State machine states
	  typedef enum {
		STATE_IDLE,
		STATE_RECEIVING_HEX,
		STATE_PROGRAMMING,
		STATE_PASSTHROUGH
	  } SystemState;

	  SystemState currentState = STATE_IDLE;

	  // Initialize Arduino reset pin to high (not in reset)
	  HAL_GPIO_WritePin(ARDUINO_RESET_PORT, ARDUINO_RESET_PIN, GPIO_PIN_SET);
	  HAL_Delay(500); // Initial delay to stabilize

	  // Send startup message via Bluetooth
	  sprintf(debugBuffer, "[%lu] SYSTEM: STM32 Wireless Arduino Programmer started\r\n", HAL_GetTick());
	  HAL_UART_Transmit(&UART_DEBUG, (uint8_t*)debugBuffer, strlen(debugBuffer), UART_TIMEOUT);
	  HAL_UART_Transmit(&UART_DEBUG, (uint8_t*)"SYSTEM:READY", 12, UART_TIMEOUT);

	  // Main loop
	  while (1) {
		// Check for commands from Bluetooth (UART6)
		uint8_t commandBuffer[32] = {0};
		uint16_t cmdSize = 0;

		// Try to receive a command byte
		if (HAL_UART_Receive(&huart6, &commandBuffer[0], 1, 10) == HAL_OK) {
		  cmdSize = 1;

		  // Try to receive more bytes that might be in the buffer (with short timeout)
		  while (cmdSize < sizeof(commandBuffer) - 1 &&
				 HAL_UART_Receive(&huart6, &commandBuffer[cmdSize], 1, 5) == HAL_OK) {
			cmdSize++;
		  }

		  // Null-terminate the command
		  commandBuffer[cmdSize] = '\0';

		  // Log the received command
		  sprintf(debugBuffer, "[%lu] BT_CMD: Received command: %s\r\n", HAL_GetTick(), commandBuffer);
		  HAL_UART_Transmit(&UART_DEBUG, (uint8_t*)debugBuffer, strlen(debugBuffer), UART_TIMEOUT);

		  // Process commands based on current state
		  switch (currentState) {
			case STATE_IDLE:
			  // Check for signature request command
			  if (strncmp((char*)commandBuffer, "s", 1) == 0) {
				sprintf(debugBuffer, "[%lu] SYSTEM: Signature request received\r\n", HAL_GetTick());
				HAL_UART_Transmit(&UART_DEBUG, (uint8_t*)debugBuffer, strlen(debugBuffer), UART_TIMEOUT);

				// Reset Arduino and establish sync
				if (ResetAndSyncArduino(MAX_RESET_ATTEMPTS)) {
				  // Verify signature
				  uint8_t response[3];
				  bool success = SendCommandAndWaitForSync(STK_READ_SIGN, NULL, 0, response, 3);

				  if (success) {
					// Format signature response
					sprintf((char*)btTxBuffer, "SIG:%02X,%02X,%02X", response[0], response[1], response[2]);
					HAL_UART_Transmit(&UART_DEBUG, btTxBuffer, strlen((char*)btTxBuffer), UART_TIMEOUT);

					// Log signature
					sprintf(debugBuffer, "[%lu] SYSTEM: Signature sent: %s\r\n", HAL_GetTick(), btTxBuffer);
					HAL_UART_Transmit(&UART_DEBUG, (uint8_t*)debugBuffer, strlen(debugBuffer), UART_TIMEOUT);
				  } else {
					// Send failure response
					HAL_UART_Transmit(&UART_DEBUG, (uint8_t*)"SIG:FAIL", 8, UART_TIMEOUT);
				  }
				} else {
				  // Send sync failure response
				  HAL_UART_Transmit(&UART_DEBUG, (uint8_t*)"SIG:NOSYNC", 10, UART_TIMEOUT);
				}
			  }
			  // Check for programming start command
			  else if (strncmp((char*)commandBuffer, "p", 1) == 0) {
				sprintf(debugBuffer, "[%lu] SYSTEM: Programming request received\r\n", HAL_GetTick());
				HAL_UART_Transmit(&UART_DEBUG, (uint8_t*)debugBuffer, strlen(debugBuffer), UART_TIMEOUT);

				// Reset program data buffer
				program_data_size = 0;
				memset(dynamic_program_data, 0xFF, sizeof(dynamic_program_data));

				// Set the global pointer to our buffer for the upload functions to use
				program_data_ptr = dynamic_program_data;

				// Switch to hex receiving state
				currentState = STATE_RECEIVING_HEX;
				HAL_UART_Transmit(&UART_DEBUG, (uint8_t*)"PROG:READY", 10, UART_TIMEOUT);
			  }
			  // Check for passthrough mode command
			  else if (strncmp((char*)commandBuffer, "c", 1) == 0) {
				sprintf(debugBuffer, "[%lu] SYSTEM: Entering passthrough mode\r\n", HAL_GetTick());
				HAL_UART_Transmit(&UART_DEBUG, (uint8_t*)debugBuffer, strlen(debugBuffer), UART_TIMEOUT);

				// Switch to passthrough state
				currentState = STATE_PASSTHROUGH;
				HAL_UART_Transmit(&UART_DEBUG, (uint8_t*)"PASS:OK", 7, UART_TIMEOUT);
			  }
			  break;
			case STATE_RECEIVING_HEX:
			  // Check for end of hex transmission
			  if (strncmp((char*)commandBuffer, "e", 1) == 0) {
			    sprintf(debugBuffer, "[%lu] SYSTEM: Hex file reception complete, size: %lu bytes\r\n",
			            HAL_GetTick(), program_data_size);
			    HAL_UART_Transmit(&UART_DEBUG, (uint8_t*)debugBuffer, strlen(debugBuffer), UART_TIMEOUT);

			    // Switch to programming state
			    currentState = STATE_PROGRAMMING;
			    HAL_UART_Transmit(&UART_DEBUG, (uint8_t*)"PROG:START", 10, UART_TIMEOUT);

			    // Execute the upload process
			    bool uploadResult = UploadHexFile();

			    // Report status
			    if (uploadResult) {
			      HAL_UART_Transmit(&UART_DEBUG, (uint8_t*)"PROG:SUCCESS", 12, UART_TIMEOUT);
			      sprintf(debugBuffer, "[%lu] SYSTEM: Upload successful - Arduino is now running the new program\r\n", HAL_GetTick());
			      HAL_UART_Transmit(&UART_DEBUG, (uint8_t*)debugBuffer, strlen(debugBuffer), UART_TIMEOUT);
			    } else {
			      HAL_UART_Transmit(&UART_DEBUG, (uint8_t*)"PROG:FAIL", 9, UART_TIMEOUT);
			      sprintf(debugBuffer, "[%lu] SYSTEM: Upload failed - Check connections and retry\r\n", HAL_GetTick());
			      HAL_UART_Transmit(&UART_DEBUG, (uint8_t*)debugBuffer, strlen(debugBuffer), UART_TIMEOUT);
			    }

			    // Reset the program data pointer for safety
			    program_data_ptr = NULL;
			    program_data_size = 0;

			    // Return to idle state
			    currentState = STATE_IDLE;
			  }
			  // Process simple 'h' command - receive the whole file at once
			  else if (strncmp((char*)commandBuffer, "h", 1) == 0) {
			    // First, receive the 4-byte file size
			    uint32_t expected_size = 0;

			    // Log that we're waiting for the size information
			    sprintf(debugBuffer, "[%lu] SYSTEM: Waiting for file size information\r\n", HAL_GetTick());
			    HAL_UART_Transmit(&UART_DEBUG, (uint8_t*)debugBuffer, strlen(debugBuffer), UART_TIMEOUT);

			    // Receive the 4-byte file size (timeout: 1 second)
			    if (HAL_UART_Receive(&huart6, (uint8_t*)&expected_size, 4, 1000) != HAL_OK) {
			      sprintf(debugBuffer, "[%lu] SYSTEM: Failed to receive file size\r\n", HAL_GetTick());
			      HAL_UART_Transmit(&UART_DEBUG, (uint8_t*)debugBuffer, strlen(debugBuffer), UART_TIMEOUT);
			      return;
			    }

			    // Verify size is valid
			    if (expected_size == 0 || expected_size > sizeof(dynamic_program_data)) {
			      sprintf(debugBuffer, "[%lu] SYSTEM: Invalid file size: %lu bytes (max: %lu)\r\n",
			              HAL_GetTick(), expected_size, sizeof(dynamic_program_data));
			      HAL_UART_Transmit(&UART_DEBUG, (uint8_t*)debugBuffer, strlen(debugBuffer), UART_TIMEOUT);
			      return;
			    }

			    // Log that we're about to receive the file
			    sprintf(debugBuffer, "[%lu] SYSTEM: Receiving %lu bytes of binary data...\r\n", HAL_GetTick(), expected_size);
			    HAL_UART_Transmit(&UART_DEBUG, (uint8_t*)debugBuffer, strlen(debugBuffer), UART_TIMEOUT);

			    // Calculate a reasonable timeout based on file size (10ms per byte + 2s base)
			    uint32_t receive_timeout = expected_size * 10 + 2000;

			    // Receive the entire file in one operation
			    HAL_StatusTypeDef receive_status = HAL_UART_Receive(&huart6, dynamic_program_data, expected_size, receive_timeout);

			    if (receive_status == HAL_OK) {
			      // Update the program data size
			      program_data_size = expected_size;
			      program_data_ptr = dynamic_program_data;

			      sprintf(debugBuffer, "[%lu] SYSTEM: Successfully received %lu bytes of binary data\r\n",
			              HAL_GetTick(), program_data_size);
			      HAL_UART_Transmit(&UART_DEBUG, (uint8_t*)debugBuffer, strlen(debugBuffer), UART_TIMEOUT);
			    } else {
			      // Handle receive error
			      sprintf(debugBuffer, "[%lu] SYSTEM: Failed to receive binary data (status: %d)\r\n",
			              HAL_GetTick(), receive_status);
			      HAL_UART_Transmit(&UART_DEBUG, (uint8_t*)debugBuffer, strlen(debugBuffer), UART_TIMEOUT);
			    }
			  }
			  // Cancel hex reception
			  else if (strncmp((char*)commandBuffer, "cancel", 6) == 0) {
			    currentState = STATE_IDLE;
			    HAL_UART_Transmit(&UART_DEBUG, (uint8_t*)"HEX:CANCELLED", 13, UART_TIMEOUT);

			    sprintf(debugBuffer, "[%lu] SYSTEM: Hex file reception cancelled\r\n", HAL_GetTick());
			    HAL_UART_Transmit(&UART_DEBUG, (uint8_t*)debugBuffer, strlen(debugBuffer), UART_TIMEOUT);
			  }
			  break;

			case STATE_PROGRAMMING:
			  // This state is handled by the UploadHexFile function
			  // We should not receive commands while in this state
			  // But if we do, just log them
			  sprintf(debugBuffer, "[%lu] SYSTEM: Ignoring command during programming\r\n", HAL_GetTick());
			  HAL_UART_Transmit(&UART_DEBUG, (uint8_t*)debugBuffer, strlen(debugBuffer), UART_TIMEOUT);
			  break;

			case STATE_PASSTHROUGH:
			  // Exit passthrough mode command
			  if (strncmp((char*)commandBuffer, "x", 1) == 0) {
			    sprintf(debugBuffer, "[%lu] SYSTEM: Exiting passthrough mode\r\n", HAL_GetTick());
			    HAL_UART_Transmit(&UART_DEBUG, (uint8_t*)debugBuffer, strlen(debugBuffer), UART_TIMEOUT);

			    // Stop UART interrupt reception
			    HAL_UART_AbortReceive_IT(&UART_ARDUINO);

			    currentState = STATE_IDLE;
			    HAL_UART_Transmit(&UART_DEBUG, (uint8_t*)"PASS:EXIT", 9, UART_TIMEOUT);
			  } else {
			    // Forward data from Bluetooth to Arduino
			    HAL_UART_Transmit(&UART_ARDUINO, commandBuffer, cmdSize, UART_TIMEOUT);
			  }
			  break;
		  }
		}

		// In passthrough mode, check for data from Arduino and forward to Bluetooth
		// In passthrough mode, check for data from Arduino and forward to Bluetooth
		// In passthrough mode, check for data from Arduino and forward to Bluetooth
		if (currentState == STATE_PASSTHROUGH) {
		  // Start interrupt mode if we just entered passthrough state
		  static bool interruptModeStarted = false;
		  if (!interruptModeStarted) {
		    StartUartInterruptMode();
		    interruptModeStarted = true;
		  }

		  // Check if we have received data from Arduino via interrupt
		  if (uartRxReady) {
		    // Process all available bytes in the circular buffer
		    while (rxHead != rxTail) {
		      // Get a byte from the buffer
		      uint8_t byte = uartRxCircBuffer[rxTail];
		      rxTail = (rxTail + 1) % RX_BUFFER_SIZE;

		      // Forward the byte to the debug UART
		      HAL_UART_Transmit(&UART_DEBUG, &byte, 1, UART_TIMEOUT);
		    }

		    // Reset the flag after processing all available bytes
		    if (rxHead == rxTail) {
		      uartRxReady = false;
		    }
		  }
		} else {
		  // Reset interrupt mode flag when not in passthrough mode
		  static bool interruptModeStarted = false;
		  if (interruptModeStarted) {
		    HAL_UART_AbortReceive_IT(&UART_ARDUINO);
		    interruptModeStarted = false;

		    sprintf(debugBuffer, "[%lu] SYSTEM: UART interrupt mode stopped\r\n", HAL_GetTick());
		    HAL_UART_Transmit(&UART_DEBUG, (uint8_t*)debugBuffer, strlen(debugBuffer), UART_TIMEOUT);
		  }
		}

//		sprintf(debugBuffer, "[%lu] SYSTEM: Exiting While mode\r\n", HAL_GetTick());
//		HAL_UART_Transmit(&UART_DEBUG, (uint8_t*)debugBuffer, strlen(debugBuffer), UART_TIMEOUT);

		// Blink status LED or perform other maintenance tasks
//		HAL_GPIO_TogglePin(GPIOC, GPIO_PIN_13); // Assuming LED is on PC13
	  }
	}

	/*
	 * You'll need to modify PrepareHexFilePages() as follows to use the dynamic data:
	 */
	uint16_t PrepareHexFilePages(uint8_t preparedPages[][FLASH_PAGE_SIZE],
								uint16_t pageSizes[],
								uint16_t pageAddresses[],
								uint16_t maxPages)
	{
	  uint16_t totalPages = 0;
	  uint16_t currentAddress = 0;

	  // Only use the dynamically received data
	  uint8_t* data_source = program_data_ptr;
	  uint16_t bytesRemaining = program_data_size;

	  // Safety check to ensure we have valid data
	  if (data_source == NULL || bytesRemaining == 0) {
		sprintf(debugBuffer, "[%lu] UPLOAD: No valid program data available\r\n", HAL_GetTick());
		HAL_UART_Transmit(&UART_DEBUG, (uint8_t*)debugBuffer, strlen(debugBuffer), UART_TIMEOUT);
		return 0;
	  }

	  sprintf(debugBuffer, "[%lu] UPLOAD: Pre-processing binary program data (size: %u bytes)...\r\n",
			  HAL_GetTick(), bytesRemaining);
	  HAL_UART_Transmit(&UART_DEBUG, (uint8_t*)debugBuffer, strlen(debugBuffer), UART_TIMEOUT);

	  // Process all data in chunks of FLASH_PAGE_SIZE
	  while (bytesRemaining > 0 && totalPages < maxPages) {
		// Skip bootloader area
		if (currentAddress >= BOOT_SECTION_START) {
		  sprintf(debugBuffer, "[%lu] UPLOAD: Skipping bootloader area at 0x%04X\r\n",
				  HAL_GetTick(), currentAddress);
		  HAL_UART_Transmit(&UART_DEBUG, (uint8_t*)debugBuffer, strlen(debugBuffer), UART_TIMEOUT);
		  break; // Stop processing as we've reached the bootloader area
		}

		// Calculate bytes to copy for this page
		uint16_t bytesToCopy = (bytesRemaining > FLASH_PAGE_SIZE) ? FLASH_PAGE_SIZE : bytesRemaining;

		// Copy data for this page
		memcpy(preparedPages[totalPages], &data_source[currentAddress], bytesToCopy);

		// If we didn't fill the page, pad with 0xFF (erased flash state)
		if (bytesToCopy < FLASH_PAGE_SIZE) {
		  memset(&preparedPages[totalPages][bytesToCopy], 0xFF, FLASH_PAGE_SIZE - bytesToCopy);
		}

		// Store page information
		pageAddresses[totalPages] = currentAddress;
		pageSizes[totalPages] = FLASH_PAGE_SIZE; // Always send full pages for consistent programming

		// Debug output
		sprintf(debugBuffer, "[%lu] UPLOAD: Prepared page %d: address=0x%04X, size=%d bytes\r\n",
				HAL_GetTick(), totalPages, currentAddress, FLASH_PAGE_SIZE);
		HAL_UART_Transmit(&UART_DEBUG, (uint8_t*)debugBuffer, strlen(debugBuffer), UART_TIMEOUT);

		// Update counters
		currentAddress += bytesToCopy;
		bytesRemaining -= bytesToCopy;
		totalPages++;

		// Progress indicator every few pages
		if (totalPages % 10 == 0) {
		  sprintf(debugBuffer, "[%lu] UPLOAD: Processed %d pages...\r\n", HAL_GetTick(), totalPages);
		  HAL_UART_Transmit(&UART_DEBUG, (uint8_t*)debugBuffer, strlen(debugBuffer), UART_TIMEOUT);
		}
	  }

	  sprintf(debugBuffer, "[%lu] UPLOAD: Pre-processing complete: %d pages prepared\r\n",
			  HAL_GetTick(), totalPages);
	  HAL_UART_Transmit(&UART_DEBUG, (uint8_t*)debugBuffer, strlen(debugBuffer), UART_TIMEOUT);

	  return totalPages;
	}

	/**
	  * @brief System Clock Configuration
	  * @retval None
	  */

void SystemClock_Config(void)
{
  RCC_OscInitTypeDef RCC_OscInitStruct = {0};
  RCC_ClkInitTypeDef RCC_ClkInitStruct = {0};

  /** Configure the main internal regulator output voltage
  */
  __HAL_RCC_PWR_CLK_ENABLE();
  __HAL_PWR_VOLTAGESCALING_CONFIG(PWR_REGULATOR_VOLTAGE_SCALE2);

  /** Initializes the RCC Oscillators according to the specified parameters
  * in the RCC_OscInitTypeDef structure.
  */
  RCC_OscInitStruct.OscillatorType = RCC_OSCILLATORTYPE_HSI;
  RCC_OscInitStruct.HSIState = RCC_HSI_ON;
  RCC_OscInitStruct.HSICalibrationValue = RCC_HSICALIBRATION_DEFAULT;
  RCC_OscInitStruct.PLL.PLLState = RCC_PLL_NONE;
  if (HAL_RCC_OscConfig(&RCC_OscInitStruct) != HAL_OK)
  {
    Error_Handler();
  }

  /** Initializes the CPU, AHB and APB buses clocks
  */
  RCC_ClkInitStruct.ClockType = RCC_CLOCKTYPE_HCLK|RCC_CLOCKTYPE_SYSCLK
                              |RCC_CLOCKTYPE_PCLK1|RCC_CLOCKTYPE_PCLK2;
  RCC_ClkInitStruct.SYSCLKSource = RCC_SYSCLKSOURCE_HSI;
  RCC_ClkInitStruct.AHBCLKDivider = RCC_SYSCLK_DIV1;
  RCC_ClkInitStruct.APB1CLKDivider = RCC_HCLK_DIV2;
  RCC_ClkInitStruct.APB2CLKDivider = RCC_HCLK_DIV1;

  if (HAL_RCC_ClockConfig(&RCC_ClkInitStruct, FLASH_LATENCY_0) != HAL_OK)
  {
    Error_Handler();
  }
}

void Error_Handler(void)
{
	  __disable_irq();
	  while (1)
	  {
	  }
}
